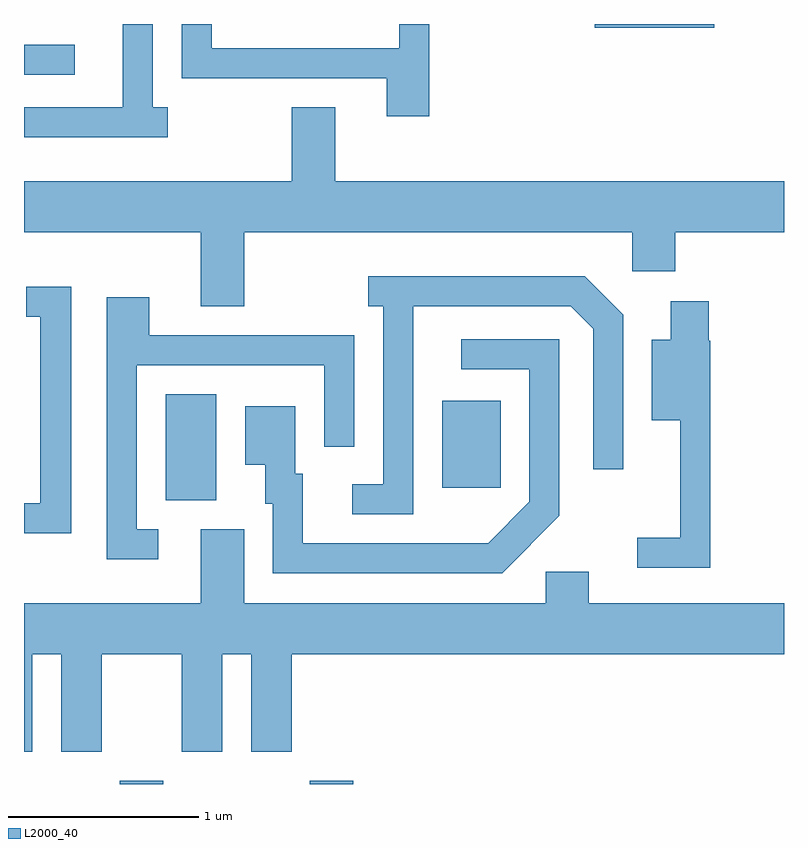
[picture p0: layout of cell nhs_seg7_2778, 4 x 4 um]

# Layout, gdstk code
import gdstk
lib = gdstk.Library(unit=1e-6, precision=1e-09)
def R(c, l, rs):  # rectangles x0, y0, x1, y1
    for r in rs: c.add(gdstk.rectangle(r[:2], r[2:], *l))
def P(c, l, *ps):  # polygons
    for p in ps: c.add(gdstk.Polygon(p, *l))
L2000_40 = (2000, 40)

nhs_seg7_2778 = lib.new_cell('nhs_seg7_2778')
R(nhs_seg7_2778, L2000_40, [(270.116,1760.252,270.344,1760.269), (271.116,1760.252,271.344,1760.269), (270.356,1761.746,270.624,1762.304), (271.811,1761.811,272.119,1762.269), (269.611,1763.986,269.878,1764.144), (272.616,1764.231,273.244,1764.252)])
P(nhs_seg7_2778, L2000_40, [(271.744,1764.252),(271.586,1764.252),(271.586,1764.124),(270.599,1764.124),(270.599,1764.252),(270.441,1764.252),(270.441,1763.966),(271.521,1763.966),(271.521,1763.766),(271.744,1763.766)],
  [(270.368,1763.814),(270.289,1763.814),(270.289,1764.252),(270.131,1764.252),(270.131,1763.814),(269.611,1763.814),(269.611,1763.656),(270.368,1763.656)],
  [(270.769,1763.156),(272.811,1763.156),(272.811,1762.951),(273.039,1762.951),(273.039,1763.156),(273.611,1763.156),(273.611,1763.424),(271.249,1763.424),(271.249,1763.814),(271.021,1763.814),(271.021,1763.424),(269.611,1763.424),(269.611,1763.156),(270.541,1763.156),(270.541,1762.766),(270.769,1762.766)],
  [(271.659,1762.766),(272.489,1762.766),(272.606,1762.649),(272.606,1761.908),(272.764,1761.908),(272.764,1762.722),(272.562,1762.924),(271.423,1762.924),(271.423,1762.766),(271.501,1762.766),(271.501,1761.829),(271.338,1761.829),(271.338,1761.671),(271.659,1761.671)],
  [(269.859,1762.869),(269.623,1762.869),(269.623,1762.711),(269.696,1762.711),(269.696,1761.729),(269.611,1761.729),(269.611,1761.571),(269.859,1761.571)],
  [(270.318,1761.594),(270.204,1761.594),(270.204,1762.456),(271.191,1762.456),(271.191,1762.028),(271.349,1762.028),(271.349,1762.614),(270.269,1762.614),(270.269,1762.814),(270.046,1762.814),(270.046,1761.436),(270.318,1761.436)],
  [(273.224,1762.585),(273.214,1762.585),(273.214,1762.794),(273.016,1762.794),(273.016,1762.589),(272.916,1762.589),(272.916,1762.166),(273.066,1762.166),(273.066,1761.549),(272.838,1761.549),(272.838,1761.391),(273.224,1761.391)],
  [(272.429,1761.664),(272.429,1762.594),(271.913,1762.594),(271.913,1762.436),(272.271,1762.436),(272.271,1761.737),(272.054,1761.519),(271.079,1761.519),(271.079,1761.884),(271.039,1761.884),(271.039,1762.239),(270.776,1762.239),(270.776,1761.931),(270.881,1761.931),(270.881,1761.726),(270.921,1761.726),(270.921,1761.361),(272.127,1761.361)],
  [(269.611,1760.421),(269.654,1760.421),(269.654,1760.936),(269.806,1760.936),(269.806,1760.421),(270.019,1760.421),(270.019,1760.936),(270.441,1760.936),(270.441,1760.421),(270.654,1760.421),(270.654,1760.936),(270.806,1760.936),(270.806,1760.421),(271.019,1760.421),(271.019,1760.936),(273.611,1760.936),(273.611,1761.204),(272.584,1761.204),(272.584,1761.369),(272.356,1761.369),(272.356,1761.204),(270.769,1761.204),(270.769,1761.594),(270.541,1761.594),(270.541,1761.204),(269.611,1761.204)])

lib.write_gds('nhs_seg7_2778.gds')
